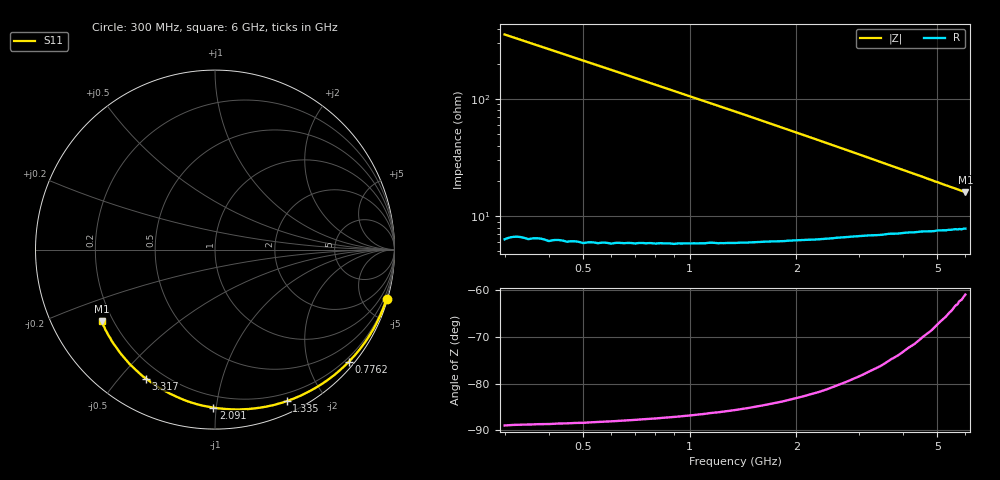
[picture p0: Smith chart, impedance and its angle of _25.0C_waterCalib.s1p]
# HZ S RI R 50.000000000000
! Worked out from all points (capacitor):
!   2000 points, 300 MHz to 6 GHz, reference 50 ohm
!   read as one part to ground: C = 1.49 pF near 328.5 MHz
!   lowest |Z| = 16.1 ohm at 6 GHz (marker M1)
!   S11 on the Smith chart (normalised r, x): 300 MHz: 0.13, -7.13; 776.2 MHz: 0.12, -2.74; 1.335 GHz: 0.12, -1.57; 2.091 GHz: 0.13, -0.98; 3.317 GHz: 0.14, -0.59; 6 GHz: 0.16, -0.28
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3e8  0.9567 -0.2738
3.256628e8  0.9489 -0.296
3.969485e8  0.9256 -0.3563
5.224112e8  0.875 -0.4556
6.478739e8  0.8144 -0.5457
7.761881e8  0.7444 -0.6261
8.95948e8  0.6741 -0.6912
1.012856e9  0.6019 -0.7444
1.178239e9  0.4976 -0.8037
1.335068e9  0.3992 -0.8446
1.52041e9  0.2869 -0.8746
1.725713e9  0.171 -0.8891
1.891096e9  0.0847 -0.8897
2.090695e9  -0.00909 -0.8804
2.258929e9  -0.0803 -0.8666
2.438569e9  -0.1494 -0.8462
2.626763e9  -0.213 -0.8203
2.817809e9  -0.2681 -0.7936
3.151426e9  -0.3491 -0.7439
3.316808e9  -0.3844 -0.719
3.505003e9  -0.4185 -0.6918
3.864282e9  -0.4742 -0.6389
4.232116e9  -0.5177 -0.5888
4.577139e9  -0.5501 -0.5448
4.902201e9  -0.578 -0.5063
5.289995e9  -0.6019 -0.4645
5.76048e9  -0.6236 -0.4172
6e9  -0.6321 -0.3972
